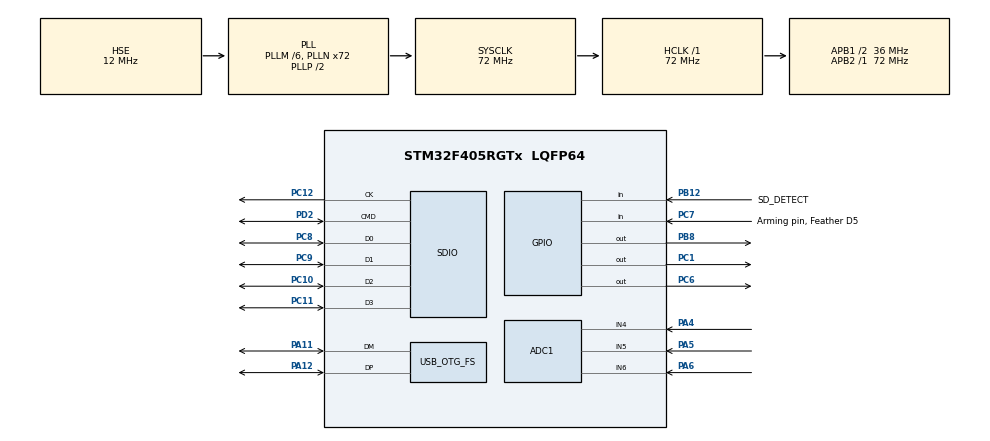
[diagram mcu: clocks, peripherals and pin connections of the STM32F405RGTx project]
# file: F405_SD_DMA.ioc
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ADC1.Channel-0\#ChannelRegularConversion=ADC_CHANNEL_4
ADC1.Channel-1\#ChannelRegularConversion=ADC_CHANNEL_5
ADC1.Channel-2\#ChannelRegularConversion=ADC_CHANNEL_6
ADC1.ClockPrescaler=ADC_CLOCK_SYNC_PCLK_DIV8
ADC1.ContinuousConvMode=ENABLE
ADC1.DMAContinuousRequests=ENABLE
ADC1.EOCSelection=ADC_EOC_SEQ_CONV
ADC1.NbrOfConversion=3
ADC1.NbrOfConversionFlag=1
ADC1.Rank-0\#ChannelRegularConversion=1
ADC1.Rank-1\#ChannelRegularConversion=2
ADC1.Rank-2\#ChannelRegularConversion=3
ADC1.SamplingTime-0\#ChannelRegularConversion=ADC_SAMPLETIME_15CYCLES
ADC1.SamplingTime-1\#ChannelRegularConversion=ADC_SAMPLETIME_15CYCLES
ADC1.SamplingTime-2\#ChannelRegularConversion=ADC_SAMPLETIME_15CYCLES
ADC1.ScanConvMode=ENABLE
ADC1.master=1
Dma.ADC1.0.Direction=DMA_PERIPH_TO_MEMORY
Dma.ADC1.0.FIFOMode=DMA_FIFOMODE_DISABLE
Dma.ADC1.0.Instance=DMA2_Stream4
Dma.ADC1.0.MemDataAlignment=DMA_MDATAALIGN_HALFWORD
Dma.ADC1.0.MemInc=DMA_MINC_ENABLE
Dma.ADC1.0.Mode=DMA_CIRCULAR
Dma.ADC1.0.PeriphDataAlignment=DMA_PDATAALIGN_HALFWORD
Dma.ADC1.0.PeriphInc=DMA_PINC_DISABLE
Dma.ADC1.0.Priority=DMA_PRIORITY_LOW
Dma.Request0=ADC1
FATFS.BSP.number=1
FATFS.USE_DMA_CODE_SD=0
FATFS0.BSP.STBoard=false
FATFS0.BSP.api=Unknown
FATFS0.BSP.instance=PB12
FATFS0.BSP.ip=GPIO
FATFS0.BSP.mode=Input
FATFS0.BSP.name=Detect_SDIO
FATFS0.BSP.solution=PB12
Mcu.Family=STM32F4
Mcu.Name=STM32F405RGTx
Mcu.Package=LQFP64
NVIC.ADC_IRQn=true\:0\:0\:false\:true\:true\:1\:true\:true\:true
NVIC.DMA2_Stream4_IRQn=true\:0\:0\:false\:false\:true\:false\:true\:true
NVIC.OTG_FS_IRQn=true\:0\:0\:false\:false\:true\:false\:true\:true
NVIC.PriorityGroup=NVIC_PRIORITYGROUP_4
NVIC.SDIO_IRQn=true\:0\:0\:false\:false\:true\:true\:true\:true
PA11.Mode=Device_Only
PA11.Signal=USB_OTG_FS_DM
PA12.Mode=Device_Only
PA12.Signal=USB_OTG_FS_DP
PA4.GPIO_Mode=GPIO_MODE_ANALOG
PA4.Signal=ADCx_IN4
PA5.Signal=ADCx_IN5
PA6.Signal=ADCx_IN6
PB12.GPIO_Label=SD_DETECT
PB12.GPIO_PuPd=GPIO_PULLDOWN
PB12.Signal=GPIO_Input
PB8.GPIO_Speed=GPIO_SPEED_FREQ_HIGH
PB8.Signal=GPIO_Output
PC1.GPIO_ModeDefaultOutputPP=GPIO_MODE_OUTPUT_PP
PC1.GPIO_Speed=GPIO_SPEED_FREQ_VERY_HIGH
PC1.Signal=GPIO_Output
PC10.GPIO_Mode=GPIO_MODE_AF_PP
PC10.GPIO_PuPd=GPIO_PULLUP
PC10.GPIO_Speed_High_Default=GPIO_SPEED_FREQ_MEDIUM
PC10.Mode=SD_4_bits_Wide_bus
PC10.Signal=SDIO_D2
PC11.GPIO_Mode=GPIO_MODE_AF_PP
PC11.GPIO_PuPd=GPIO_PULLUP
PC11.GPIO_Speed_High_Default=GPIO_SPEED_FREQ_MEDIUM
PC11.Mode=SD_4_bits_Wide_bus
PC11.Signal=SDIO_D3
PC12.GPIO_Mode=GPIO_MODE_AF_PP
PC12.GPIO_PuPd=GPIO_PULLUP
PC12.GPIO_Speed_High_Default=GPIO_SPEED_FREQ_MEDIUM
PC12.Mode=SD_4_bits_Wide_bus
PC12.Signal=SDIO_CK
PC6.GPIO_ModeDefaultOutputPP=GPIO_MODE_OUTPUT_PP
PC6.GPIO_PuPd=GPIO_NOPULL
PC6.GPIO_Speed=GPIO_SPEED_FREQ_VERY_HIGH
PC6.PinState=GPIO_PIN_RESET
PC6.Signal=GPIO_Output
PC7.GPIO_Label=Arming pin, Feather D5
PC7.GPIO_PuPd=GPIO_PULLUP
PC7.Signal=GPIO_Input
PC8.GPIO_Mode=GPIO_MODE_AF_PP
PC8.GPIO_PuPd=GPIO_PULLUP
PC8.GPIO_Speed_High_Default=GPIO_SPEED_FREQ_MEDIUM
PC8.Mode=SD_4_bits_Wide_bus
PC8.Signal=SDIO_D0
PC9.GPIO_Mode=GPIO_MODE_AF_PP
PC9.GPIO_PuPd=GPIO_PULLUP
PC9.GPIO_Speed_High_Default=GPIO_SPEED_FREQ_MEDIUM
PC9.Mode=SD_4_bits_Wide_bus
PC9.Signal=SDIO_D1
PD2.GPIO_Mode=GPIO_MODE_AF_PP
PD2.GPIO_PuPd=GPIO_PULLUP
PD2.GPIO_Speed_High_Default=GPIO_SPEED_FREQ_MEDIUM
PD2.Mode=SD_4_bits_Wide_bus
PD2.Signal=SDIO_CMD
PH0-OSC_IN.Mode=HSE-External-Oscillator
PH0-OSC_IN.Signal=RCC_OSC_IN
PH1-OSC_OUT.Mode=HSE-External-Oscillator
PH1-OSC_OUT.Signal=RCC_OSC_OUT
ProjectManager.HeapSize=0x200
ProjectManager.StackSize=0x400
ProjectManager.TargetToolchain=STM32CubeIDE
RCC.48MHZClocksFreq_Value=48000000
RCC.AHBFreq_Value=72000000
RCC.APB1CLKDivider=RCC_HCLK_DIV2
RCC.APB1Freq_Value=36000000
RCC.APB1TimFreq_Value=72000000
RCC.APB2Freq_Value=72000000
RCC.APB2TimFreq_Value=72000000
RCC.CortexFreq_Value=72000000
RCC.HCLKFreq_Value=72000000
RCC.HSE_VALUE=12000000
RCC.HSI_VALUE=16000000
RCC.LSE_VALUE=32768
RCC.PLLM=6
RCC.PLLN=72
RCC.PLLQ=3
RCC.SYSCLKFreq_VALUE=72000000
RCC.SYSCLKSource=RCC_SYSCLKSOURCE_PLLCLK
RCC.VCOOutputFreq_Value=144000000
SDIO.ClockDiv=16
SH.ADCx_IN4.0=ADC1_IN4,IN4
SH.ADCx_IN5.0=ADC1_IN5,IN5
SH.ADCx_IN6.0=ADC1_IN6,IN6
USB_DEVICE.CLASS_NAME_FS=CDC
USB_DEVICE.VirtualMode-CDC_FS=Cdc
USB_DEVICE.VirtualModeFS=Cdc_FS
USB_OTG_FS.VirtualMode=Device_Only
VP_FATFS_VS_SDIO.Mode=SDIO
VP_USB_DEVICE_VS_USB_DEVICE_CDC_FS.Mode=CDC_FS
board=custom

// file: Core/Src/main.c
/* USER CODE BEGIN Header */
/**
  ******************************************************************************
  * @file           : main.c
  * @brief          : Main program body
  ******************************************************************************
  * @attention
  *
  * Copyright (c) 2022 STMicroelectronics.
  * All rights reserved.
  *
  * This software is licensed under terms that can be found in the LICENSE file
  * in the root directory of this software component.
  * If no LICENSE file comes with this software, it is provided AS-IS.
  *
  ******************************************************************************
  */
/* USER CODE END Header */
#include "main.h"
#include "fatfs.h"
#include "usb_device.h"

/* USER CODE BEGIN Includes */
#include "usbd_cdc_if.h"
#include "OnePole.h"
#include "stm32f4xx_ll_usb.h"
#include <stdbool.h>
/* USER CODE END Includes */

/* USER CODE BEGIN PD */

// these buffers need to be divisible by 2 and 3, because (the little one at least)
// they are split into two halves, and contain a number of samples which is a
// multiple of 3.

#define NCHANNELS 3

#define PPS_CHANNEL 0
#define DETECT_CHANNEL 1
// record channel numbers FIRST_RECORD_CHANNEL to NCHANNELS-1
#define FIRST_RECORD_CHANNEL 1

// A "block" is half of the little buffer.
#define NBLOCKS 31 // discard first block
#define LITTLEBUFFERFILLS (NBLOCKS/2)
#define LITTLESAMPLES (512*2*NCHANNELS) // multiple of 2, 3, and 512
#define ADCBLOCKSIZE (LITTLESAMPLES/2)
// BIGSAMPLES needs to be a multiple of NCHANNELS, so that copying from the little buffer
// to the big buffer doesn't write off the end of the array.
#define BIGSAMPLES (512*2*(NCHANNELS-FIRST_RECORD_CHANNEL)*LITTLEBUFFERFILLS)//(LITTLESAMPLES*LITTLEBUFFERFILLS)

// Amount of change in ADC value required to detect a PPS rising edge on the PPS detect
// channel. 2800 seems to be a good default for the u-blox SAM-M8Q GPS module.
#define PPS_RISE_THRESHOLD 2800

// Output file info
#define FORMAT_VERSION 2
#define BITS_PER_CHANNEL 12
#define SAMPLES_SINCE_PPS_DIGITS 8
/* USER CODE END PD */

ADC_HandleTypeDef hadc1;
DMA_HandleTypeDef hdma_adc1;

SD_HandleTypeDef hsd;

/* USER CODE BEGIN PV */

// We have to discard the first block, because it is always full of jittery,
// corrupt data.
bool firstBlock = false;
int operatingBlock = 0;
OnePoleFState_t onePoleState = {0};

uint16_t littleBuffer[LITTLESAMPLES] __attribute__((aligned(4))) = {0};//{0xafff};

uint16_t bigBuffer[BIGSAMPLES] __attribute__((aligned(4))) = {0};//{0xffff};

unsigned int bigBufferIndex = 0;
unsigned long samplesSincePPS = 0;

int counter = 0;

// lastSample is initialized to a large value so that the (sample - lastSample) test
// will never detect a rising edge in the first block
uint16_t sample = 0;
uint16_t lastSample = 4096;

enum systemState {STATE_INACTIVE, STATE_ARMED, STATE_FRESH_BLOCK, STATE_WRITE};
volatile enum systemState stateNow;

enum innerState {INNER_STATE_RECORD, INNER_STATE_NO_RECORD};
volatile enum innerState innerStateNow;

// cardstatetypedef:
/*
typedef uint32_t HAL_SD_CardStateTypeDef;

#define HAL_SD_CARD_READY          0x00000001U
#define HAL_SD_CARD_IDENTIFICATION 0x00000002U
#define HAL_SD_CARD_STANDBY        0x00000003U
#define HAL_SD_CARD_TRANSFER       0x00000004U
#define HAL_SD_CARD_SENDING        0x00000005U
#define HAL_SD_CARD_RECEIVING      0x00000006U
#define HAL_SD_CARD_PROGRAMMING    0x00000007U
#define HAL_SD_CARD_DISCONNECTED   0x00000008U
#define HAL_SD_CARD_ERROR          0x000000FFU
 */

/* USER CODE END PV */

void SystemClock_Config(void);
static void MX_GPIO_Init(void);
static void MX_SDIO_SD_Init(void);
static void MX_DMA_Init(void);
static void MX_ADC1_Init(void);
static void MX_NVIC_Init(void);

/* USER CODE BEGIN 0 */
void USB_print(char* str) {
	CDC_Transmit_FS((uint8_t*)str, strlen(str));
}

void delayWhile(volatile int usec) {
	// from https://hackaday.com/2020/12/11/bare-metal-stm32-blinky-and-the-secret-of-delay-functions/
	volatile int count = (usec * 168) / 4; // assume 168 MHz, 4 cycles per iteration
	while (count > 0) {
		count--;
	}
}
// Note: blink is not working. I have no idea why, but it does need to be fixed.
void blink(volatile int time) {
	__disable_irq();
	while (1) {
		HAL_GPIO_WritePin(GPIOC, GPIO_PIN_1, GPIO_PIN_SET);
		delayWhile(time);
		HAL_GPIO_WritePin(GPIOC, GPIO_PIN_1, GPIO_PIN_RESET);
		delayWhile(time);
	}
}

void HAL_ADC_ConvHalfCpltCallback(ADC_HandleTypeDef *hadc) {
	HAL_GPIO_WritePin(GPIOC, GPIO_PIN_6, GPIO_PIN_RESET);
	//USB_print("ConvHalfCplt\n");
	operatingBlock = 0;
	stateNow = STATE_FRESH_BLOCK;
}

void HAL_ADC_ConvCpltCallback(ADC_HandleTypeDef *hadc) {
	//USB_print("ConvCplt\n");
	HAL_GPIO_WritePin(GPIOC, GPIO_PIN_6, GPIO_PIN_SET);
	operatingBlock = 1;
	stateNow = STATE_FRESH_BLOCK;
}

bool littleToBigFor() {
	// These two loops can write off the end of bigBuffer if BLOCKSIZE is not a multiple of NCHANNELS.
	for (int i = 0; i < ADCBLOCKSIZE; i += NCHANNELS) {
		for (int j = FIRST_RECORD_CHANNEL; j < NCHANNELS; j += 1) {
			bigBuffer[bigBufferIndex] = littleBuffer[ ADCBLOCKSIZE*operatingBlock + i+j ];
			bigBufferIndex++;

			if (bigBufferIndex >= BIGSAMPLES) {
				return true;
			}
		}
	}
	return false;
}

bool detectOnChannel() {
	bool detected = false;
	for (int i = DETECT_CHANNEL; i < ADCBLOCKSIZE; i += NCHANNELS) {
		detected = OnePoleF_update(&onePoleState, (float)(littleBuffer[operatingBlock*ADCBLOCKSIZE+i]));
		if (detected) {
			// as soon as we detect, we want to leave the function.
			return true;
		}
	}
	return false;
}

void processPPS() {
	bool risingEdgeFound = false;

	for (int i = PPS_CHANNEL; i < ADCBLOCKSIZE; i += NCHANNELS) {
		// when whichBlock is 0, this will just be littleBuffer[i]
		sample = littleBuffer[ i + (ADCBLOCKSIZE*operatingBlock) ];
		if (sample > PPS_RISE_THRESHOLD && lastSample < PPS_RISE_THRESHOLD) {
			// PPS rising edge detect
			// reset samplesSincePPS
			USB_print("rising edge found\n");
			// divide by NCHANNELS because a block contains all the channels
			samplesSincePPS = (ADCBLOCKSIZE - i) / NCHANNELS;
			risingEdgeFound = true;
		}
		lastSample = sample;
	}

	if (!risingEdgeFound) {
		//USB_print("rising edge not found, incrementing counter\n");
		// if no rising edge was found, increment samplesSincePPS by ADCBLOCKSIZE
		samplesSincePPS += (ADCBLOCKSIZE / NCHANNELS);
	}
}
// whichBlock is the same as blockToCopy above
void freshBlockCallback() {
	switch (innerStateNow) {
	case INNER_STATE_RECORD:
		//USB_print("INNER_STATE_RECORD\n");
		;
		// the copy function should not be responsible for changing the state.
		bool bigBufferFull = littleToBigFor(); // copy first block

		if (bigBufferFull) {
			USB_print("big buffer full\n");
			// stop DMA so that we can write
			if (HAL_ADC_Stop_DMA(&hadc1) != HAL_OK) {
				USB_print("failed to stop DMA\n");
				Error_Handler();
			}
			USB_print("moving to STATE_WRITE\n");
			stateNow = STATE_WRITE;
		} else {
			USB_print("big buffer not full\n");
			stateNow = STATE_ARMED;
		}

		break;

	case INNER_STATE_NO_RECORD:
		HAL_GPIO_WritePin(GPIOB, GPIO_PIN_8, GPIO_PIN_SET);
		if (!firstBlock) {
			firstBlock = true;
			stateNow = STATE_ARMED;
			return; // discard first block.
		}
		// Look for detection first so that the case where PPS occurs in the same block as

		// if detected, currentlyRecording = true and copy this block to bigBuffer, then don't
		// look for PPS rising edge.
		if (detectOnChannel()) {

			USB_print("detected\n");
			innerStateNow = INNER_STATE_RECORD;
			// We don't change the outer state here, because the while loop
			// in main will send us back to this function, where littleToBigFor()
			// will be called (the inner state has changed).
			return;
		}

		// if not first block and no detection, look for the PPS rising edge
		// or increment the samples since the last edge.
		processPPS(); // modifies global variables
		stateNow = STATE_ARMED;
		HAL_GPIO_WritePin(GPIOB, GPIO_PIN_8, GPIO_PIN_RESET);
		break;
	}
}

FIL openNextFile() {
	int fileCounter = 0;
	char fileName[20] = {0};
	FILINFO fi;
	while (1) {
		sprintf(fileName, "LAMDA%03d.bin", fileCounter);
		FRESULT res = f_stat(fileName, &fi);
		// If we couldn't open this file, it is the one to go with.
		if (res == FR_NO_FILE) {
			USB_print("found file\n");
			FIL outputFile;
			res = f_open(&outputFile, fileName, FA_WRITE|FA_CREATE_ALWAYS);
			if (res != FR_OK) {
				// printing a buffer kills any chance of printing again, so we
				// print the filename last
				USB_print("failed to open output file for writing\n");
				USB_print(fileName);
				USB_print("\n");
				blink(500);
			}
			return outputFile;
		} else {
			fileCounter++;
		}
	}
}
/* USER CODE END 0 */

int main(void)
{

  /* MCU Configuration--------------------------------------------------------*/

  /* Reset of all peripherals, Initializes the Flash interface and the Systick. */
  HAL_Init();

  /* Configure the system clock */
  SystemClock_Config();

  /* Initialize all configured peripherals */
  MX_GPIO_Init();
  MX_SDIO_SD_Init();
  MX_FATFS_Init();
  MX_DMA_Init();
  MX_USB_DEVICE_Init();
  MX_ADC1_Init();

  /* Initialize interrupts */
  MX_NVIC_Init();
  /* USER CODE BEGIN 2 */
  HAL_Delay(3000);

  FATFS fs = {0};
  FRESULT res;
  res = f_mount(&fs, "", 0);
  if (res != FR_OK) {
	  USB_print("failed to mount fs\n");
	  Error_Handler();
  }

  /* USER CODE END 2 */

  /* Infinite loop */
  /* USER CODE BEGIN WHILE */
  stateNow = STATE_INACTIVE;
  innerStateNow = INNER_STATE_NO_RECORD;
  while (1)
  {
    /* USER CODE END WHILE */

    /* USER CODE BEGIN 3 */

	  switch (stateNow) {
	  case STATE_INACTIVE:
		  if (HAL_GPIO_ReadPin(GPIOC, GPIO_PIN_7) == GPIO_PIN_SET) {
			  USB_print("armed");
			  stateNow = STATE_ARMED;
			  // I believe these numbers should be #defines.
			  OnePoleF_init(&onePoleState, 0.01, 0.007, 10);
			  if (HAL_ADC_Start_DMA(&hadc1, (uint32_t*)&littleBuffer, LITTLESAMPLES) != HAL_OK) {
				  USB_print("failed to start ADC DMA\n");
				  Error_Handler();
			  }
		  }
		  break;

	  case STATE_ARMED:
		  // Start ADC DMA and (indirectly) the detector.
		  if (HAL_GPIO_ReadPin(GPIOC, GPIO_PIN_7) != GPIO_PIN_SET) {
			  USB_print("dearmed");
			  stateNow = STATE_INACTIVE;
			  if (HAL_ADC_Stop_DMA(&hadc1) != HAL_OK) {
				USB_print("failed to stop DMA\n");
				Error_Handler();
			  }
		  }
		  break;

	  case STATE_FRESH_BLOCK:
		  freshBlockCallback();
		  break;

	  case STATE_WRITE:
		  //innerStateNow = INNER_STATE_WAIT;
		  USB_print("STATE_WRITE");
		  // Stop DMA, write bigBuffer to the file, go back to STATE_ARMED and wait for detect again.
		  UINT written = 0;
		  FIL logFile = openNextFile();
		  char lamdaDeadbeef[] = {'L', 'A', 'M', 'D', 'A', 0xDE, 0xAD, 0xBE, 0xEF};
		  res = f_write(&logFile, lamdaDeadbeef, sizeof(lamdaDeadbeef), NULL);
		  if (res != FR_OK) {
			  USB_print("failed to write header to file\n");
			  blink(500);
		  }

		  const char fileInfo[] = {FORMAT_VERSION, NCHANNELS, BITS_PER_CHANNEL};
		  res = f_write(&logFile, fileInfo, sizeof(fileInfo), NULL);
		  if (res != FR_OK) {
			  USB_print("failed to write ADC data header to file\n");
			  blink(500);
		  }
		  // write samplesSincePPS
		  res = f_write(&logFile, (char*)(&samplesSincePPS), sizeof(samplesSincePPS), &written);
		  if (res != FR_OK) {
			  USB_print("failed to write samples since PPS to file\n");
			  blink(500);
		  }

		  res = f_write(&logFile, bigBuffer, sizeof(bigBuffer), &written);
		  if (res != FR_OK) {
			  USB_print("failed to write to file\n");
			  blink(500);
		  }
		  if (written != sizeof(bigBuffer)) {
			  USB_print("written doesn't match\n");
			  blink(1000);
		  }

		  res = f_sync(&logFile);
		  if (res != FR_OK) {
			  USB_print("failed to sync file\n");
			  blink(1000);
		  }

		  HAL_GPIO_WritePin(GPIOC, GPIO_PIN_1, GPIO_PIN_SET);
		  res = f_close(&logFile);
		  if (res != FR_OK) {
			  USB_print("failed to close file\n");
			  blink(1500);
		  }
		  bigBufferIndex = 0;
		  samplesSincePPS = 0;
		  stateNow = STATE_INACTIVE;
		  innerStateNow = INNER_STATE_NO_RECORD;

		  break;
	  }
  }
  /* USER CODE END 3 */
}

void SystemClock_Config(void)
{
  RCC_OscInitTypeDef RCC_OscInitStruct = {0};
  RCC_ClkInitTypeDef RCC_ClkInitStruct = {0};

  /** Configure the main internal regulator output voltage
  */
  __HAL_RCC_PWR_CLK_ENABLE();
  __HAL_PWR_VOLTAGESCALING_CONFIG(PWR_REGULATOR_VOLTAGE_SCALE1);

  /** Initializes the RCC Oscillators according to the specified parameters
  * in the RCC_OscInitTypeDef structure.
  */
  RCC_OscInitStruct.OscillatorType = RCC_OSCILLATORTYPE_HSE;
  RCC_OscInitStruct.HSEState = RCC_HSE_ON;
  RCC_OscInitStruct.PLL.PLLState = RCC_PLL_ON;
  RCC_OscInitStruct.PLL.PLLSource = RCC_PLLSOURCE_HSE;
  RCC_OscInitStruct.PLL.PLLM = 6;
  RCC_OscInitStruct.PLL.PLLN = 72;
  RCC_OscInitStruct.PLL.PLLP = RCC_PLLP_DIV2;
  RCC_OscInitStruct.PLL.PLLQ = 3;
  if (HAL_RCC_OscConfig(&RCC_OscInitStruct) != HAL_OK)
  {
    Error_Handler();
  }

  /** Initializes the CPU, AHB and APB buses clocks
  */
  RCC_ClkInitStruct.ClockType = RCC_CLOCKTYPE_HCLK|RCC_CLOCKTYPE_SYSCLK
                              |RCC_CLOCKTYPE_PCLK1|RCC_CLOCKTYPE_PCLK2;
  RCC_ClkInitStruct.SYSCLKSource = RCC_SYSCLKSOURCE_PLLCLK;
  RCC_ClkInitStruct.AHBCLKDivider = RCC_SYSCLK_DIV1;
  RCC_ClkInitStruct.APB1CLKDivider = RCC_HCLK_DIV2;
  RCC_ClkInitStruct.APB2CLKDivider = RCC_HCLK_DIV1;

  if (HAL_RCC_ClockConfig(&RCC_ClkInitStruct, FLASH_LATENCY_2) != HAL_OK)
  {
    Error_Handler();
  }
}

/**
  * @brief NVIC Configuration.
  * @retval None
  */
static void MX_NVIC_Init(void)
{
  /* ADC_IRQn interrupt configuration */
  HAL_NVIC_SetPriority(ADC_IRQn, 0, 0);
  HAL_NVIC_EnableIRQ(ADC_IRQn);
}

static void MX_ADC1_Init(void)
{

  ADC_ChannelConfTypeDef sConfig = {0};

  /** Configure the global features of the ADC (Clock, Resolution, Data Alignment and number of conversion)
  */
  hadc1.Instance = ADC1;
  hadc1.Init.ClockPrescaler = ADC_CLOCK_SYNC_PCLK_DIV8;
  hadc1.Init.Resolution = ADC_RESOLUTION_12B;
  hadc1.Init.ScanConvMode = ENABLE;
  hadc1.Init.ContinuousConvMode = ENABLE;
  hadc1.Init.DiscontinuousConvMode = DISABLE;
  hadc1.Init.ExternalTrigConvEdge = ADC_EXTERNALTRIGCONVEDGE_NONE;
  hadc1.Init.ExternalTrigConv = ADC_SOFTWARE_START;
  hadc1.Init.DataAlign = ADC_DATAALIGN_RIGHT;
  hadc1.Init.NbrOfConversion = 3;
  hadc1.Init.DMAContinuousRequests = ENABLE;
  hadc1.Init.EOCSelection = ADC_EOC_SEQ_CONV;
  if (HAL_ADC_Init(&hadc1) != HAL_OK)
  {
    Error_Handler();
  }

  /** Configure for the selected ADC regular channel its corresponding rank in the sequencer and its sample time.
  */
  sConfig.Channel = ADC_CHANNEL_4;
  sConfig.Rank = 1;
  sConfig.SamplingTime = ADC_SAMPLETIME_15CYCLES;
  if (HAL_ADC_ConfigChannel(&hadc1, &sConfig) != HAL_OK)
  {
    Error_Handler();
  }

  /** Configure for the selected ADC regular channel its corresponding rank in the sequencer and its sample time.
  */
  sConfig.Channel = ADC_CHANNEL_5;
  sConfig.Rank = 2;
  if (HAL_ADC_ConfigChannel(&hadc1, &sConfig) != HAL_OK)
  {
    Error_Handler();
  }

  /** Configure for the selected ADC regular channel its corresponding rank in the sequencer and its sample time.
  */
  sConfig.Channel = ADC_CHANNEL_6;
  sConfig.Rank = 3;
  if (HAL_ADC_ConfigChannel(&hadc1, &sConfig) != HAL_OK)
  {
    Error_Handler();
  }

}

static void MX_SDIO_SD_Init(void)
{

  hsd.Instance = SDIO;
  hsd.Init.ClockEdge = SDIO_CLOCK_EDGE_RISING;
  hsd.Init.ClockBypass = SDIO_CLOCK_BYPASS_DISABLE;
  hsd.Init.ClockPowerSave = SDIO_CLOCK_POWER_SAVE_DISABLE;
  hsd.Init.BusWide = SDIO_BUS_WIDE_1B;
  hsd.Init.HardwareFlowControl = SDIO_HARDWARE_FLOW_CONTROL_DISABLE;
  hsd.Init.ClockDiv = 16;
  /* USER CODE BEGIN SDIO_Init 2 */
  uint8_t sd_state = HAL_SD_Init(&hsd);
    /* Configure SD Bus width (4 bits mode selected) */
    if (sd_state == MSD_OK)
    {
      /* Enable wide operation */
      if (HAL_SD_ConfigWideBusOperation(&hsd, SDIO_BUS_WIDE_4B) != HAL_OK)
      {
        sd_state = MSD_ERROR;
      }
    }
  /* USER CODE END SDIO_Init 2 */

}

static void MX_DMA_Init(void)
{

  /* DMA controller clock enable */
  __HAL_RCC_DMA2_CLK_ENABLE();

  /* DMA interrupt init */
  /* DMA2_Stream4_IRQn interrupt configuration */
  HAL_NVIC_SetPriority(DMA2_Stream4_IRQn, 0, 0);
  HAL_NVIC_EnableIRQ(DMA2_Stream4_IRQn);

}

static void MX_GPIO_Init(void)
{
  GPIO_InitTypeDef GPIO_InitStruct = {0};

  /* GPIO Ports Clock Enable */
  __HAL_RCC_GPIOH_CLK_ENABLE();
  __HAL_RCC_GPIOC_CLK_ENABLE();
  __HAL_RCC_GPIOA_CLK_ENABLE();
  __HAL_RCC_GPIOB_CLK_ENABLE();
  __HAL_RCC_GPIOD_CLK_ENABLE();

  /*Configure GPIO pin Output Level */
  HAL_GPIO_WritePin(GPIOC, GPIO_PIN_1|GPIO_PIN_6, GPIO_PIN_RESET);

  /*Configure GPIO pin Output Level */
  HAL_GPIO_WritePin(GPIOB, GPIO_PIN_8, GPIO_PIN_RESET);

  /*Configure GPIO pins : PC1 PC6 */
  GPIO_InitStruct.Pin = GPIO_PIN_1|GPIO_PIN_6;
  GPIO_InitStruct.Mode = GPIO_MODE_OUTPUT_PP;
  GPIO_InitStruct.Pull = GPIO_NOPULL;
  GPIO_InitStruct.Speed = GPIO_SPEED_FREQ_VERY_HIGH;
  HAL_GPIO_Init(GPIOC, &GPIO_InitStruct);

  /*Configure GPIO pin : SD_DETECT_Pin */
  GPIO_InitStruct.Pin = SD_DETECT_Pin;
  GPIO_InitStruct.Mode = GPIO_MODE_INPUT;
  GPIO_InitStruct.Pull = GPIO_PULLDOWN;
  HAL_GPIO_Init(SD_DETECT_GPIO_Port, &GPIO_InitStruct);

  /*Configure GPIO pin : Arming_pin__Feather_D5_Pin */
  GPIO_InitStruct.Pin = Arming_pin__Feather_D5_Pin;
  GPIO_InitStruct.Mode = GPIO_MODE_INPUT;
  GPIO_InitStruct.Pull = GPIO_PULLUP;
  HAL_GPIO_Init(Arming_pin__Feather_D5_GPIO_Port, &GPIO_InitStruct);

  /*Configure GPIO pin : PB8 */
  GPIO_InitStruct.Pin = GPIO_PIN_8;
  GPIO_InitStruct.Mode = GPIO_MODE_OUTPUT_PP;
  GPIO_InitStruct.Pull = GPIO_NOPULL;
  GPIO_InitStruct.Speed = GPIO_SPEED_FREQ_HIGH;
  HAL_GPIO_Init(GPIOB, &GPIO_InitStruct);

}

void Error_Handler(void)
{
  __disable_irq();
  while (1)
  {
  }
}
